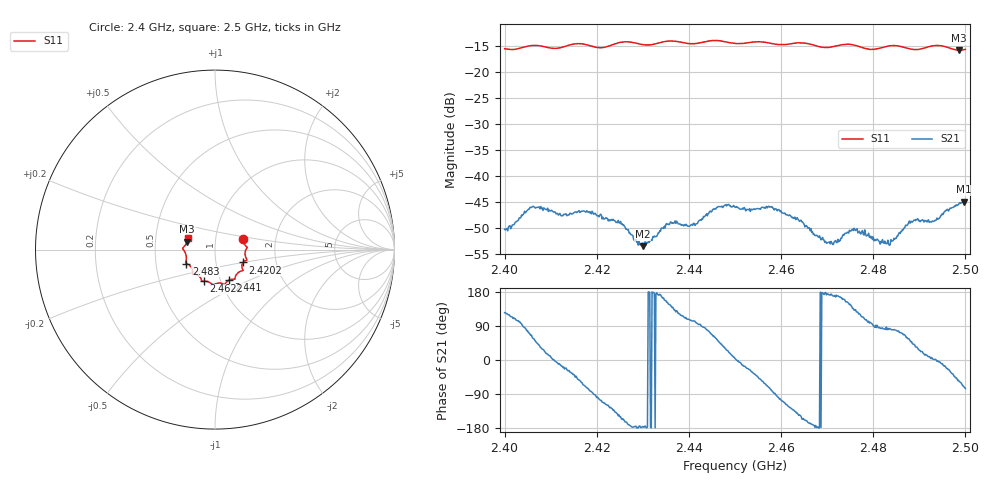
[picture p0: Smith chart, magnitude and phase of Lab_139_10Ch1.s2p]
# Hz S RI R 50
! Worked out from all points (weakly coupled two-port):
!   601 points, 2.4 GHz to 2.5 GHz, reference 50 ohm
!   highest |S21| = -44.95 dB at 2.4997 GHz (marker M1); lowest = -53.5 dB at 2.43 GHz (marker M2)
!   lowest |S11| = -15.8 dB at 2.4987 GHz (marker M3), VSWR 1.39, Z = 36.4 + j3.29 ohm
!   |S11| at or under -10 dB: start of sweep to end of sweep
!   S12 and S22 are empty: the file has one direction only
!   S11 on the Smith chart (normalised r, x): 2.4 GHz: 1.36, +0.17; 2.4202 GHz: 1.35, -0.20; 2.441 GHz: 1.10, -0.39; 2.4622 GHz: 0.83, -0.30; 2.483 GHz: 0.72, -0.12; 2.5 GHz: 0.73, +0.09
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2.4e9  0.1564 0.0603  -0.00176 0.00251  0 0  0 0
2.406e9  0.1794 0.0133  0.00256 0.00434  0 0  0 0
2.416667e9  0.1775 -0.0582  0.00233 -0.00394  0 0  0 0
2.420167e9  0.1563 -0.0716  -0.000593 -0.0041  0 0  0 0
2.425167e9  0.1559 -0.1136  -0.00316 -0.00184  0 0  0 0
2.43e9  0.1344 -0.1248  -0.00211 -0.000168  0 0  0 0
2.433333e9  0.1128 -0.1521  -0.0028 0.000418  0 0  0 0
2.4365e9  0.1099 -0.1653  -0.00268 0.00233  0 0  0 0
2.441e9  0.077 -0.1705  -0.0008 0.00342  0 0  0 0
2.446e9  0.0518 -0.194  0.0028 0.00411  0 0  0 0
2.45e9  0.0267 -0.1863  0.005 0.000336  0 0  0 0
2.462167e9  -0.0629 -0.1763  -0.00249 -0.00322  0 0  0 0
2.466667e9  -0.0764 -0.167  -0.0028 -0.000529  0 0  0 0
2.470167e9  -0.098 -0.1415  -0.00228 0.000223  0 0  0 0
2.476e9  -0.1253 -0.1305  -0.002 0.00228  0 0  0 0
2.483e9  -0.1589 -0.0779  0.000391 0.0022  0 0  0 0
2.483333e9  -0.1604 -0.0773  0.000363 0.00219  0 0  0 0
2.488333e9  -0.1594 -0.0443  0.0024 0.00271  0 0  0 0
2.493167e9  -0.1793 0.00374  0.00367 7.31e-05  0 0  0 0
2.498667e9  -0.1558 0.044  0.00301 -0.0046  0 0  0 0
2.499667e9  -0.1531 0.058  0.00185 -0.00535  0 0  0 0
2.5e9  -0.1528 0.0627  0.00139 -0.00525  0 0  0 0
